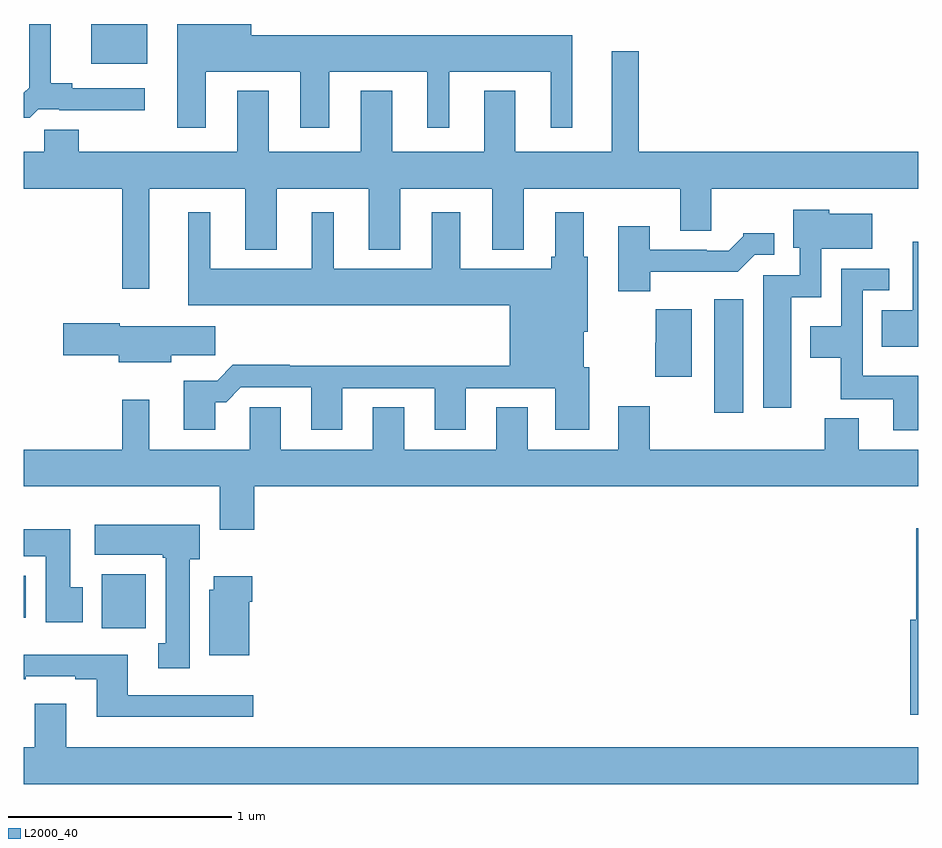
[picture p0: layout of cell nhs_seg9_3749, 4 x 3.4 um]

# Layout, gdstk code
import gdstk
lib = gdstk.Library(unit=1e-6, precision=1e-09)
def R(c, l, rs):  # rectangles x0, y0, x1, y1
    for r in rs: c.add(gdstk.rectangle(r[:2], r[2:], *l))
def P(c, l, *ps):  # polygons
    for p in ps: c.add(gdstk.Polygon(p, *l))
L2000_40 = (2000, 40)

nhs_seg9_3749 = lib.new_cell('nhs_seg9_3749')
R(nhs_seg9_3749, L2000_40, [(325.349,1183.796,325.546,1184.038), (325,1183.844,325.009,1184.032), (328.088,1184.76,328.219,1185.268), (325.301,1186.322,325.552,1186.5)])
P(nhs_seg9_3749, L2000_40, [(325.065,1186.119),(325.159,1186.119),(325.159,1186.115),(325.54,1186.115),(325.54,1186.212),(325.216,1186.212),(325.216,1186.235),(325.121,1186.235),(325.121,1186.5),(325.023,1186.5),(325.023,1186.215),(325,1186.192),(325,1186.08),(325.025,1186.08)],
  [(325.813,1186.286),(326.237,1186.286),(326.237,1186.035),(326.365,1186.035),(326.365,1186.286),(326.804,1186.286),(326.804,1186.035),(326.902,1186.035),(326.902,1186.286),(327.356,1186.286),(327.356,1186.035),(327.454,1186.035),(327.454,1186.45),(326.017,1186.45),(326.017,1186.5),(325.685,1186.5),(325.685,1186.035),(325.813,1186.035)],
  [(325.561,1185.764),(325.991,1185.764),(325.991,1185.491),(326.131,1185.491),(326.131,1185.764),(326.543,1185.764),(326.543,1185.491),(326.683,1185.491),(326.683,1185.764),(327.095,1185.764),(327.095,1185.491),(327.235,1185.491),(327.235,1185.764),(327.935,1185.764),(327.935,1185.574),(328.075,1185.574),(328.075,1185.764),(329,1185.764),(329,1185.928),(327.751,1185.928),(327.751,1186.378),(327.629,1186.378),(327.629,1185.928),(327.199,1185.928),(327.199,1186.201),(327.059,1186.201),(327.059,1185.928),(326.647,1185.928),(326.647,1186.201),(326.507,1186.201),(326.507,1185.928),(326.095,1185.928),(326.095,1186.201),(325.955,1186.201),(325.955,1185.928),(325.245,1185.928),(325.245,1186.026),(325.09,1186.026),(325.09,1185.928),(325,1185.928),(325,1185.764),(325.44,1185.764),(325.44,1185.315),(325.561,1185.315)],
  [(328.432,1185.278),(328.566,1185.278),(328.566,1185.494),(328.795,1185.494),(328.795,1185.652),(328.602,1185.652),(328.602,1185.67),(328.442,1185.67),(328.442,1185.498),(328.47,1185.498),(328.47,1185.375),(328.307,1185.375),(328.307,1184.784),(328.432,1184.784)],
  [(325.855,1184.807),(325.904,1184.807),(325.971,1184.874),(326.285,1184.874),(326.285,1184.685),(326.425,1184.685),(326.425,1184.871),(326.837,1184.871),(326.837,1184.685),(326.977,1184.685),(326.977,1184.871),(327.377,1184.871),(327.377,1184.685),(327.529,1184.685),(327.529,1184.964),(327.505,1184.964),(327.505,1185.123),(327.523,1185.123),(327.523,1185.459),(327.505,1185.459),(327.505,1185.658),(327.377,1185.658),(327.377,1185.459),(327.358,1185.459),(327.358,1185.406),(326.953,1185.406),(326.953,1185.658),(326.825,1185.658),(326.825,1185.406),(326.386,1185.406),(326.386,1185.658),(326.288,1185.658),(326.288,1185.406),(325.834,1185.406),(325.834,1185.658),(325.736,1185.658),(325.736,1185.242),(327.173,1185.242),(327.173,1184.972),(326.189,1184.972),(326.189,1184.975),(325.934,1184.975),(325.864,1184.905),(325.715,1184.905),(325.715,1184.685),(325.855,1184.685)],
  [(327.802,1185.392),(328.193,1185.392),(328.269,1185.468),(328.357,1185.468),(328.357,1185.565),(328.218,1185.565),(328.218,1185.55),(328.154,1185.486),(328.055,1185.486),(328.055,1185.489),(327.799,1185.489),(327.799,1185.595),(327.659,1185.595),(327.659,1185.305),(327.802,1185.305)],
  [(329,1185.526),(328.976,1185.526),(328.976,1185.22),(328.837,1185.22),(328.837,1185.056),(329,1185.056)],
  [(329,1184.926),(328.752,1184.926),(328.752,1185.309),(328.87,1185.309),(328.87,1185.405),(328.656,1185.405),(328.656,1185.148),(328.517,1185.148),(328.517,1185.008),(328.654,1185.008),(328.654,1184.822),(328.889,1184.822),(328.889,1184.682),(329,1184.682)],
  [(327.988,1185.223),(327.826,1185.223),(327.826,1185.075),(327.824,1185.075),(327.824,1184.922),(327.988,1184.922)],
  [(325.66,1185.019),(325.855,1185.019),(325.855,1185.148),(325.428,1185.148),(325.428,1185.161),(325.176,1185.161),(325.176,1185.019),(325.424,1185.019),(325.424,1184.987),(325.66,1184.987)],
  [(329,1184.596),(328.735,1184.596),(328.735,1184.737),(328.583,1184.737),(328.583,1184.596),(327.799,1184.596),(327.799,1184.791),(327.659,1184.791),(327.659,1184.596),(327.253,1184.596),(327.253,1184.786),(327.113,1184.786),(327.113,1184.596),(326.701,1184.596),(326.701,1184.786),(326.561,1184.786),(326.561,1184.596),(326.149,1184.596),(326.149,1184.786),(326.01,1184.786),(326.01,1184.596),(325.561,1184.596),(325.561,1184.818),(325.44,1184.818),(325.44,1184.596),(325,1184.596),(325,1184.432),(325.877,1184.432),(325.877,1184.238),(326.03,1184.238),(326.03,1184.432),(329,1184.432)],
  [(325.741,1184.106),(325.786,1184.106),(325.786,1184.26),(325.317,1184.26),(325.317,1184.126),(325.621,1184.126),(325.621,1184.113),(325.634,1184.113),(325.634,1183.73),(325.601,1183.73),(325.601,1183.617),(325.741,1183.617)],
  [(329,1184.245),(328.993,1184.245),(328.993,1183.834),(328.964,1183.834),(328.964,1183.41),(329,1183.41)],
  [(325.264,1183.98),(325.207,1183.98),(325.207,1184.239),(325,1184.239),(325,1184.12),(325.097,1184.12),(325.097,1183.824),(325.264,1183.824)],
  [(326.008,1183.916),(326.021,1183.916),(326.021,1184.029),(325.85,1184.029),(325.85,1183.968),(325.829,1183.968),(325.829,1183.676),(326.008,1183.676)],
  [(326.026,1183.497),(325.465,1183.497),(325.465,1183.678),(325,1183.678),(325,1183.569),(325.009,1183.569),(325.009,1183.581),(325.229,1183.581),(325.229,1183.569),(325.325,1183.569),(325.325,1183.4),(326.026,1183.4)],
  [(329,1183.264),(325.189,1183.264),(325.189,1183.459),(325.049,1183.459),(325.049,1183.264),(325,1183.264),(325,1183.1),(329,1183.1)])

lib.write_gds('nhs_seg9_3749.gds')
